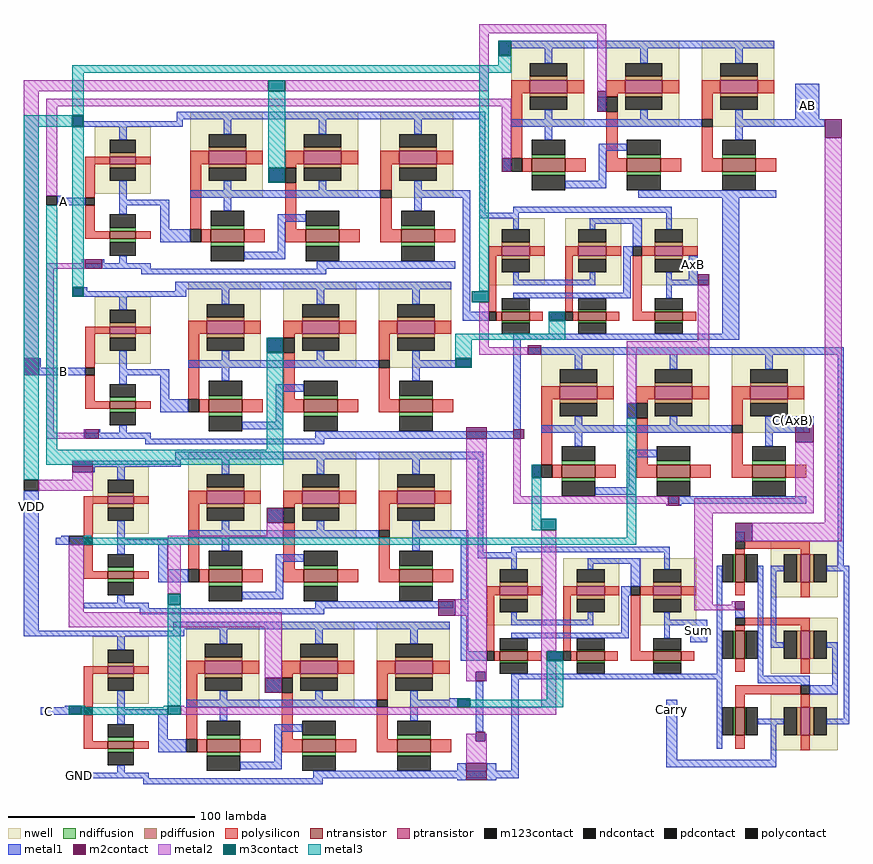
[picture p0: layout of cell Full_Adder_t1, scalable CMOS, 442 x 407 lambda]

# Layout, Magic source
magic
tech scmos
<< metal1 >>
rect -11 85 -4 93
rect -239 50 -233 53
rect 148 51 161 70
rect -239 47 -224 50
rect 129 47 164 51
rect -247 9 -245 10
rect -247 5 -236 9
rect -223 -29 -222 -24
rect 91 -38 96 -22
rect -239 -44 -231 -39
rect 109 -64 118 13
rect 86 -67 118 -64
rect 130 -75 174 -71
rect -257 -82 -256 -77
rect -34 -82 -25 -77
rect -257 -86 -235 -82
rect 136 -113 158 -108
rect -225 -120 -224 -115
rect -228 -138 -227 -132
rect -265 -223 -257 -148
rect 86 -156 87 -151
rect -245 -177 -241 -172
rect 171 -175 174 -75
rect 91 -220 101 -217
rect -265 -226 -231 -223
rect 92 -229 101 -220
rect 81 -249 109 -246
rect -243 -264 -234 -263
rect -37 -264 -28 -259
rect -256 -268 -234 -264
rect -23 -277 -19 -250
rect 79 -292 85 -260
rect 135 -292 138 -283
rect -240 -302 -215 -299
rect -33 -303 -28 -294
rect -17 -303 -12 -294
rect 79 -296 138 -292
<< m2contact >>
rect 42 55 47 66
rect 164 41 173 51
rect -9 23 -4 30
rect -232 -29 -223 -24
rect 96 -38 102 -32
rect 5 -75 12 -70
rect -265 -86 -257 -77
rect -232 -120 -225 -115
rect -28 -120 -17 -114
rect -3 -120 3 -115
rect 148 -122 158 -113
rect -239 -138 -228 -132
rect 80 -156 86 -151
rect -135 -165 -126 -157
rect 116 -175 125 -165
rect -43 -215 -34 -206
rect 116 -212 121 -207
rect -136 -256 -127 -248
rect -23 -250 -18 -245
rect -23 -282 -18 -277
rect -28 -303 -17 -294
<< metal2 >>
rect -21 97 47 102
rect -21 72 -16 97
rect -265 66 -134 72
rect -125 66 -16 72
rect 42 66 47 97
rect -265 -77 -257 66
rect -253 58 -4 62
rect -253 10 -247 58
rect -9 30 -4 58
rect -234 -26 -232 -24
rect -253 -29 -232 -26
rect -253 -117 -249 -29
rect -21 -71 -16 -47
rect 96 -68 102 -38
rect -21 -75 5 -71
rect 58 -75 102 -68
rect 58 -101 63 -75
rect -233 -117 -232 -115
rect -253 -120 -232 -117
rect -239 -142 -228 -138
rect -257 -148 -228 -142
rect -135 -172 -126 -165
rect -241 -213 -233 -177
rect -188 -177 -126 -172
rect -188 -203 -181 -177
rect -28 -206 -17 -120
rect -3 -151 1 -120
rect -3 -155 80 -151
rect 79 -156 80 -155
rect 148 -152 158 -122
rect 94 -160 158 -152
rect -241 -221 -127 -213
rect -34 -215 -17 -206
rect -136 -248 -127 -221
rect -28 -245 -17 -215
rect -28 -250 -23 -245
rect -18 -250 -17 -245
rect 12 -234 20 -169
rect 94 -209 104 -160
rect 164 -165 173 41
rect 125 -175 173 -165
rect 114 -209 116 -207
rect 94 -212 116 -209
rect 12 -239 15 -234
rect -181 -264 -179 -263
rect 12 -264 20 -239
rect -181 -268 20 -264
rect -28 -282 -23 -278
rect -18 -282 -17 -278
rect -28 -294 -17 -282
<< m3contact >>
rect -11 85 -4 93
rect -134 66 -125 72
rect -239 47 -233 53
rect -134 17 -125 25
rect -239 -44 -233 -39
rect -25 -47 -16 -41
rect -135 -74 -126 -66
rect 16 -57 25 -52
rect -34 -82 -25 -77
rect -188 -209 -181 -203
rect 7 -141 12 -134
rect 12 -169 20 -163
rect 15 -239 24 -234
rect -241 -268 -234 -263
rect -188 -268 -181 -263
rect -33 -264 -26 -259
<< m123contact >>
rect -253 5 -247 10
rect 58 -109 63 -101
rect -265 -148 -257 -142
rect -241 -177 -233 -172
<< metal3 >>
rect -11 80 -4 85
rect -239 76 -4 80
rect -239 53 -233 76
rect -265 47 -239 53
rect -265 -142 -257 47
rect -253 -126 -247 5
rect -239 -39 -233 47
rect -134 25 -125 66
rect -21 -41 -16 76
rect 16 -64 25 -57
rect -135 -126 -126 -74
rect -34 -67 25 -64
rect -34 -77 -25 -67
rect -253 -134 -126 -126
rect 7 -169 12 -141
rect -233 -173 -229 -172
rect 58 -173 63 -109
rect -233 -177 63 -173
rect -188 -263 -181 -209
rect -234 -264 -232 -263
rect -190 -264 -188 -263
rect -234 -268 -188 -264
rect 15 -260 24 -239
rect -26 -264 24 -260
use OR_2  OR_2_0
transform 0 1 137 -1 0 -217
box -47 -31 71 40
use XOR  XOR_1
transform 1 0 -104 0 1 -216
box -144 -89 205 89
use AND_2  AND_2_1
transform 1 0 13 0 1 -118
box -8 -37 143 47
use AND_2  AND_2_0
transform 1 0 -3 0 1 46
box -8 -37 143 47
use XOR  XOR_0
transform 1 0 -103 0 1 -34
box -144 -89 205 89
<< labels >>
flabel metal1 -247 5 -241 9 0 FreeSans 9 0 0 0 A
flabel metal1 -247 -86 -241 -82 0 FreeSans 9 0 0 0 B
flabel metal1 79 -270 85 -260 0 FreeSans 9 0 0 0 Carry
flabel metal1 -256 -268 -248 -264 0 FreeSans 9 0 0 0 C
flabel metal1 -240 -302 -230 -299 0 FreeSans 9 0 0 0 GND
flabel metal1 -265 -165 -257 -148 0 FreeSans 9 0 0 0 VDD
flabel metal1 148 47 161 70 0 FreeSans 9 0 0 0 AB
flabel metal1 91 -32 96 -22 0 FreeSans 9 0 0 0 AxB
flabel metal1 136 -113 158 -108 0 FreeSans 9 0 0 0 C(AxB)
flabel metal1 92 -229 101 -217 0 FreeSans 9 0 0 0 Sum
<< end >>

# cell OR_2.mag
magic
tech scmos
<< nwell >>
rect -42 -2 -12 34
rect -1 -2 29 34
rect 40 -2 70 34
<< ntransistor >>
rect -35 -21 -20 -16
rect 6 -21 21 -16
rect 47 -21 62 -16
<< ptransistor >>
rect -35 14 -20 19
rect 6 14 21 19
rect 47 14 62 19
<< ndiffusion >>
rect -35 -16 -20 -15
rect 6 -16 21 -15
rect 47 -16 62 -15
rect -35 -22 -20 -21
rect 6 -22 21 -21
rect 47 -22 62 -21
<< pdiffusion >>
rect -35 19 -20 21
rect 6 19 21 21
rect 47 19 62 21
rect -35 12 -20 14
rect 6 12 21 14
rect 47 12 62 14
<< ndcontact >>
rect -35 -15 -20 -9
rect 6 -15 21 -9
rect 47 -15 62 -9
rect -35 -28 -20 -22
rect 6 -28 21 -22
rect 47 -28 62 -22
<< pdcontact >>
rect -35 21 -20 28
rect 6 21 21 28
rect 47 21 62 28
rect -35 5 -20 12
rect 6 5 21 12
rect 47 5 62 12
<< polysilicon >>
rect -42 14 -35 19
rect -20 14 -12 19
rect -1 14 6 19
rect 21 14 29 19
rect 40 14 47 19
rect 62 14 70 19
rect -42 -16 -38 14
rect -1 -16 3 14
rect 35 -16 40 14
rect -38 -21 -35 -16
rect -20 -21 -13 -16
rect 3 -21 6 -16
rect 21 -21 28 -16
rect 35 -21 47 -16
rect 62 -21 69 -16
<< polycontact >>
rect 35 14 40 19
rect -42 -21 -38 -16
rect -1 -21 3 -16
<< metal1 >>
rect -29 37 56 40
rect -47 34 -26 37
rect -29 28 -26 34
rect 12 31 40 34
rect 12 28 15 31
rect 35 19 40 31
rect 53 28 56 37
rect 30 14 35 19
rect -29 1 -26 5
rect 12 1 15 5
rect -29 -2 15 1
rect 30 -6 34 14
rect -29 -9 34 -6
rect 53 1 56 5
rect 53 -2 71 1
rect 53 -9 56 -2
rect -47 -21 -42 -16
rect -6 -21 -1 -16
rect -29 -31 69 -28
<< end >>

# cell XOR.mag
magic
tech scmos
<< metal1 >>
rect -80 84 -77 89
rect 61 85 85 89
rect -135 81 -120 84
rect -96 81 -77 84
rect -31 51 -24 59
rect 68 43 77 47
rect -144 39 -129 43
rect -97 39 -84 42
rect -89 26 -84 39
rect -89 19 -73 26
rect -129 5 -121 8
rect -99 5 -94 8
rect -5 5 0 9
rect -99 2 0 5
rect -81 -7 -75 -2
rect -135 -10 -119 -7
rect -96 -10 -75 -7
rect 73 -18 77 43
rect 82 32 85 85
rect 194 -4 205 -1
rect 73 -23 87 -18
rect 119 -23 125 -18
rect -32 -40 -25 -32
rect 65 -48 78 -44
rect -144 -52 -129 -48
rect -101 -52 -84 -49
rect -89 -65 -84 -52
rect -89 -72 -74 -65
rect 100 -82 104 -30
rect -130 -86 -118 -83
rect -97 -86 -94 -83
rect -6 -86 -1 -82
rect 63 -86 104 -82
rect -97 -89 -1 -86
use OR_2  OR_2_0 /home/vsoham
transform 1 0 129 0 1 -2
box -47 -31 71 40
use AND_2  AND_2_1 /home/vsoham
transform 1 0 -73 0 1 -49
box -8 -37 143 47
use AND_2  AND_2_0
transform 1 0 -72 0 1 42
box -8 -37 143 47
use CMOS_in  CMOS_in_1 /home/vsoham
transform 1 0 -124 0 1 -46
box -13 -40 30 39
use CMOS_in  CMOS_in_0
transform 1 0 -124 0 1 45
box -13 -40 30 39
<< labels >>
flabel metal1 -144 -52 -137 -48 0 FreeSans 9 0 0 0 B
flabel metal1 -144 39 -137 43 0 FreeSans 9 0 0 0 A
flabel metal1 194 -4 205 -1 0 FreeSans 9 0 0 0 OUT
flabel metal1 65 -48 78 -44 0 FreeSans 9 0 0 0 ABc
flabel metal1 119 -23 125 -18 0 FreeSans 9 0 0 0 ABc
flabel metal1 -31 51 -24 59 0 FreeSans 9 0 0 0 B
flabel metal1 -32 -40 -25 -32 0 FreeSans 9 0 0 0 A
flabel metal1 -135 81 -123 84 0 FreeSans 9 0 0 0 VDD
flabel metal1 -135 -10 -123 -7 0 FreeSans 9 0 0 0 VDD
flabel metal1 -130 -86 -118 -83 0 FreeSans 9 0 0 0 GND
flabel metal1 -129 5 -121 8 0 FreeSans 9 0 0 0 GND
<< end >>

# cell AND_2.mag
magic
tech scmos
<< nwell >>
rect -1 1 38 47
rect 50 1 89 47
rect 101 1 140 47
<< ntransistor >>
rect 10 -23 28 -16
rect 61 -23 79 -16
rect 112 -23 130 -16
<< ptransistor >>
rect 9 19 29 26
rect 60 19 80 26
rect 111 19 131 26
<< ndiffusion >>
rect 10 -16 28 -14
rect 61 -16 79 -14
rect 112 -16 130 -14
rect 10 -25 28 -23
rect 61 -25 79 -23
rect 112 -25 130 -23
<< pdiffusion >>
rect 9 26 29 28
rect 60 26 80 28
rect 111 26 131 28
rect 9 17 29 19
rect 60 17 80 19
rect 111 17 131 19
<< ndcontact >>
rect 10 -14 28 -6
rect 61 -14 79 -6
rect 112 -14 130 -6
rect 10 -33 28 -25
rect 61 -33 79 -25
rect 112 -33 130 -25
<< pdcontact >>
rect 9 28 29 35
rect 60 28 80 35
rect 111 28 131 35
rect 9 10 29 17
rect 60 10 80 17
rect 111 10 131 17
<< polysilicon >>
rect -1 19 9 26
rect 29 19 38 26
rect 50 19 60 26
rect 80 19 89 26
rect 101 19 111 26
rect 131 19 140 26
rect -1 -16 5 19
rect 50 17 56 19
rect 50 -16 56 9
rect 101 5 107 19
rect 101 -16 107 1
rect 5 -23 10 -16
rect 28 -23 39 -16
rect 50 -23 61 -16
rect 79 -23 90 -16
rect 101 -23 112 -16
rect 130 -23 141 -16
<< polycontact >>
rect 50 9 56 17
rect 101 1 107 5
rect -1 -23 5 -16
<< metal1 >>
rect -8 43 140 47
rect 17 35 21 43
rect 68 35 72 43
rect 119 35 123 43
rect 17 5 21 10
rect 45 9 50 17
rect 68 5 72 10
rect 119 5 123 10
rect -1 1 101 5
rect 119 1 143 5
rect 17 -6 21 1
rect 119 -6 123 1
rect 46 -12 61 -8
rect -6 -23 -1 -16
rect 46 -28 50 -12
rect 28 -32 50 -28
rect 67 -37 141 -33
<< end >>

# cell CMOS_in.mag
magic
tech scmos
<< nwell >>
rect 0 0 30 36
<< ntransistor >>
rect 8 -24 22 -20
<< ptransistor >>
rect 8 16 22 20
<< ndiffusion >>
rect 8 -20 22 -18
rect 8 -26 22 -24
<< pdiffusion >>
rect 8 20 22 22
rect 8 14 22 16
<< ndcontact >>
rect 8 -18 22 -11
rect 8 -33 22 -26
<< pdcontact >>
rect 8 22 22 29
rect 8 7 22 14
<< polysilicon >>
rect -5 16 8 20
rect 22 16 30 20
rect -5 -2 0 16
rect -5 -20 0 -6
rect -5 -24 8 -20
rect 22 -24 30 -20
<< polycontact >>
rect -5 -6 0 -2
<< metal1 >>
rect 0 36 30 39
rect 13 29 17 36
rect -13 -6 -5 -2
rect 13 -3 17 7
rect 13 -6 30 -3
rect 13 -11 17 -6
rect 13 -37 17 -33
rect 0 -40 30 -37
<< end >>
